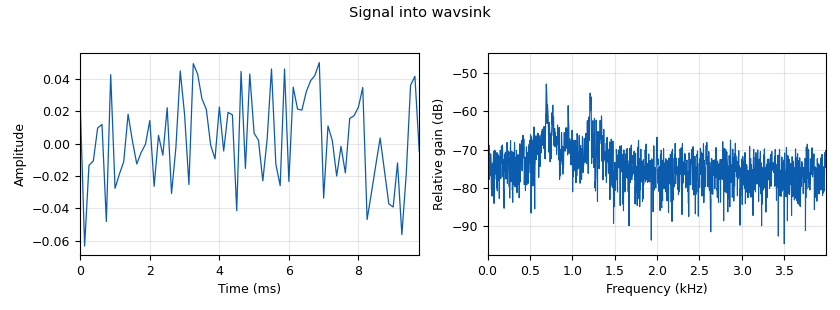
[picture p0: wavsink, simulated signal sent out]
options:
  parameters:
    author: ECE 448
    description: 'L13: dials a number as DTMF at 8 kHz, adds noise, and writes one dialing and its pause to a WAV file. Runs once and stops.'
    generate_options: no_gui
    id: L13_dtmf_capture
    output_language: python
    run_options: run
    title: L13 - DTMF Capture
  states: {}

blocks:
- name: gap_ms
  id: variable
  parameters:
    value: '50'
  states: {}
- name: length
  id: variable
  parameters:
    value: int(round(samp_rate * (len(number) * (tone_ms + gap_ms) + pause_ms) / 1000))
  states: {}
- name: level
  id: variable
  parameters:
    value: '0.3'
  states: {}
- name: noise_amp
  id: variable
  parameters:
    value: level * ((1 + 10**(twist_db/10)) / 2 / 10**(snr_db/10)) ** 0.5
  states: {}
- name: number
  id: variable
  parameters:
    comment: The digits to dial
    value: '''7195550148'''
  states: {}
- name: pause_ms
  id: variable
  parameters:
    value: '500'
  states: {}
- name: samp_rate
  id: variable
  parameters:
    value: '8000'
  states: {}
- name: snr_db
  id: variable
  parameters:
    comment: SNR during a tone, over 0 to 4 kHz
    value: '20'
  states: {}
- name: tone_ms
  id: variable
  parameters:
    value: '50'
  states: {}
- name: twist_db
  id: variable
  parameters:
    comment: Column tone level minus row tone level
    value: '-2'
  states: {}
- name: wav
  id: variable
  parameters:
    value: '''L13-capture.wav'''
  states: {}
- name: add
  id: blocks_add_xx
  parameters:
    type: float
  states: {}
- name: dialer
  id: epy_block
  parameters:
    _source_code: |
      """DTMF Dialer: sends `digits` as DTMF tones, then a pause, over and over.

      Each digit is a row tone and a column tone, `tone_ms` long, followed by
      `gap_ms` of silence. The row tone has amplitude `level`; the column tone is
      `twist_db` above it (negative: below it). `offset_pct` moves every tone by
      that percentage. Characters other than 0-9, A-D, * and # are skipped."""

      import numpy as np
      from gnuradio import gr

      ROWS = (697, 770, 852, 941)
      COLS = (1209, 1336, 1477, 1633)
      KEYS = ('123A', '456B', '789C', '*0#D')


      class blk(gr.sync_block):
          def __init__(self, samp_rate=8000, digits='123', tone_ms=70, gap_ms=70,
                       pause_ms=500, level=0.3, twist_db=0.0, offset_pct=0.0):
              gr.sync_block.__init__(self, name='DTMF Dialer', in_sig=None, out_sig=[np.float32])
              self.samp_rate, self.digits = samp_rate, digits
              self.tone_ms, self.gap_ms, self.pause_ms = tone_ms, gap_ms, pause_ms
              self.level, self.twist_db, self.offset_pct = level, twist_db, offset_pct
              self.made = None
              self.pos = 0

          def make(self):
              fs = self.samp_rate
              n_tone = int(round(fs * self.tone_ms / 1000))
              t = np.arange(n_tone) / fs
              scale = 1 + self.offset_pct / 100
              hi_amp = self.level * 10 ** (self.twist_db / 20)
              parts = []
              for d in str(self.digits).upper():
                  for r, row in enumerate(KEYS):
                      if d in row:
                          c = row.index(d)
                          parts.append(self.level * np.sin(2 * np.pi * ROWS[r] * scale * t)
                                       + hi_amp * np.sin(2 * np.pi * COLS[c] * scale * t))
                          parts.append(np.zeros(int(round(fs * self.gap_ms / 1000))))
              parts.append(np.zeros(int(round(fs * self.pause_ms / 1000))))
              self.wave = np.concatenate(parts).astype(np.float32)

          def work(self, input_items, output_items):
              now = (self.samp_rate, self.digits, self.tone_ms, self.gap_ms, self.pause_ms,
                     self.level, self.twist_db, self.offset_pct)
              if now != self.made:                    # a setting changed: rebuild the sequence
                  self.make()
                  self.made = now
                  self.pos = 0
              out = output_items[0]
              n = 0
              while n < len(out):
                  k = min(len(out) - n, len(self.wave) - self.pos)
                  out[n:n + k] = self.wave[self.pos:self.pos + k]
                  n += k
                  self.pos = (self.pos + k) % len(self.wave)
              return len(out)
    digits: number
    gap_ms: gap_ms
    level: level
    offset_pct: '0'
    pause_ms: pause_ms
    samp_rate: samp_rate
    tone_ms: tone_ms
    twist_db: twist_db
  states: {}
- name: head
  id: blocks_head
  parameters:
    num_items: length
    type: float
  states: {}
- name: noise
  id: analog_noise_source_x
  parameters:
    amp: noise_amp
    noise_type: analog.GR_GAUSSIAN
    seed: '448'
    type: float
  states: {}
- name: wavsink
  id: blocks_wavfile_sink
  parameters:
    bits_per_sample1: FORMAT_PCM_16
    file: wav
    format: FORMAT_WAV
    samp_rate: samp_rate
  states: {}

connections:
- [add, '0', head, '0']
- [dialer, '0', add, '0']
- [head, '0', wavsink, '0']
- [noise, '0', add, '1']

metadata:
  file_format: 1
  grc_version: 3.10.9.2
